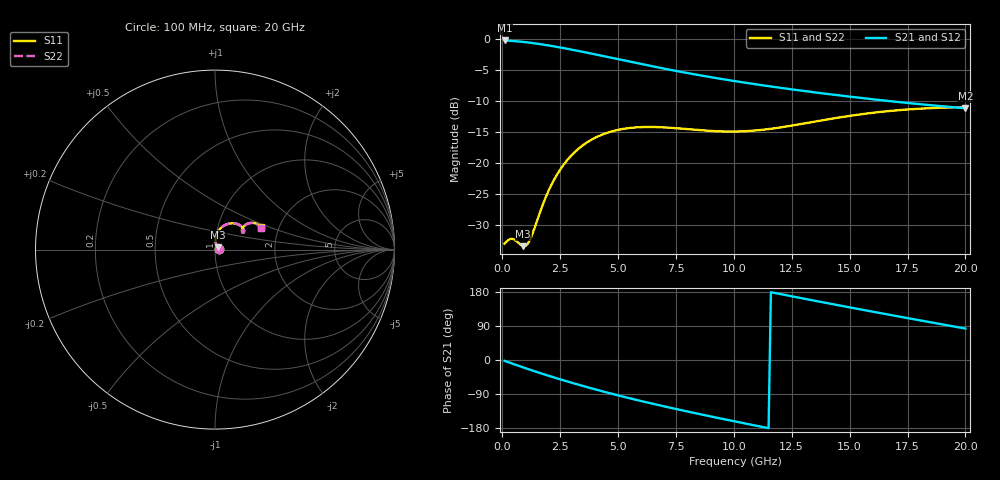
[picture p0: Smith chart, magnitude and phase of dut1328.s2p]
! Touchstone file exported from HFSS 2024.1.0
!  File:  C:/UserFiles/LocalFiles/RDL_TSV_Batchsim/temp_RDL_TSV_1328_1780388878.aedt
!  Generated:  04:43:23 PM Jun  2, 2026
!  Design:  RDL_TSV
!  Project:  temp_RDL_TSV_1328_1780388878
!  Setup:  Setup1
!  Solution:  Sweep
! Variables:
!  dtsv = 9.6um
!  hbump = 3um
!  htsv = 61.61um
!  ldown = 577.03um
!  lrdl = 682.61um
!  p = 40
!  p1 = 45.12um
!  rhole = 10um
!  subl = 4461.53um
!  t = 450um
!  tdown = 4.58um
!  trdl = 2.19um
!  viad = 10um
!  wdown = 22.73um
!  wrdl = 28.19um
!  xbump = 18um
# GHz S MA R 50.000000
! Terminal data exported
! Port[1] = TM1_1_T1
! Port[2] = TM1_4_T1
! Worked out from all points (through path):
!   200 points, 100 MHz to 20 GHz, reference 50 ohm
!   highest |S21| = -0.20 dB at 100 MHz (marker M1); lowest = -11.1 dB at 20 GHz (marker M2)
!   group delay of S21, straight-line fit = 36.8 ps
!   lowest |S11| = -33.4 dB at 900 MHz (marker M3), VSWR 1.04, Z = 51.7 + j1.35 ohm
!   |S11| at or under -10 dB: start of sweep to end of sweep
!   |S22| runs from -33.4 to -11.0 dB; largest |S21 - S12| = 8.7e-15
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0.1  0.02245 6.4  0.9773 -2.3  0.9773 -2.3  0.02245 6.4
! Gamma 0 0 0 0
! Port Impedance 50 0 50 0
0.4  0.02462 15.3  0.9698 -8.9  0.9698 -8.9  0.02461 15.3
0.9  0.02145 37.4  0.9515 -19.6  0.9515 -19.6  0.02141 37.6
1  0.02151 45.9  0.947 -21.6  0.947 -21.6  0.02149 46.2
1.2  0.02417 63.5  0.9372 -25.8  0.9372 -25.8  0.02419 63.8
1.8  0.04901 86.8  0.9031 -37.7  0.9031 -37.7  0.04922 87.0
2.3  0.07729 85.8  0.8711 -47.3  0.8711 -47.3  0.07764 86.0
2.9  0.1111 78.7  0.8307 -58.3  0.8307 -58.3  0.1116 78.8
3.5  0.1405 70.1  0.7896 -68.9  0.7896 -68.9  0.1412 70.2
4.3  0.1698 59.1  0.7357 -82.2  0.7357 -82.2  0.1708 59.2
5.2  0.1889 48.5  0.6781 -96.4  0.6781 -96.4  0.1901 48.6
6  0.1956 41.1  0.631 -108.4  0.631 -108.4  0.197 41.1
6.8  0.1954 35.7  0.5885 -119.7  0.5885 -119.7  0.1968 35.7
7.6  0.1911 32.3  0.5506 -130.7  0.5506 -130.7  0.1926 32.2
8.4  0.1856 30.9  0.517 -141.2  0.517 -141.2  0.1871 30.8
10.1  0.1802 33.2  0.4576 -162.8  0.4576 -162.8  0.1815 32.9
11.6  0.1896 37.2  0.4157 178.9  0.4157 178.9  0.1905 36.8
13.4  0.2151 39.2  0.3746 157.5  0.3746 157.5  0.2155 38.9
15  0.2409 37.8  0.3444 138.9  0.3444 138.9  0.241 37.5
16.7  0.2636 34.1  0.3173 119.5  0.3173 119.5  0.2635 33.9
18.3  0.2771 30.0  0.2961 101.7  0.2961 101.7  0.2769 29.8
20  0.283 25.9  0.2775 83.0  0.2775 83.0  0.2827 25.7
